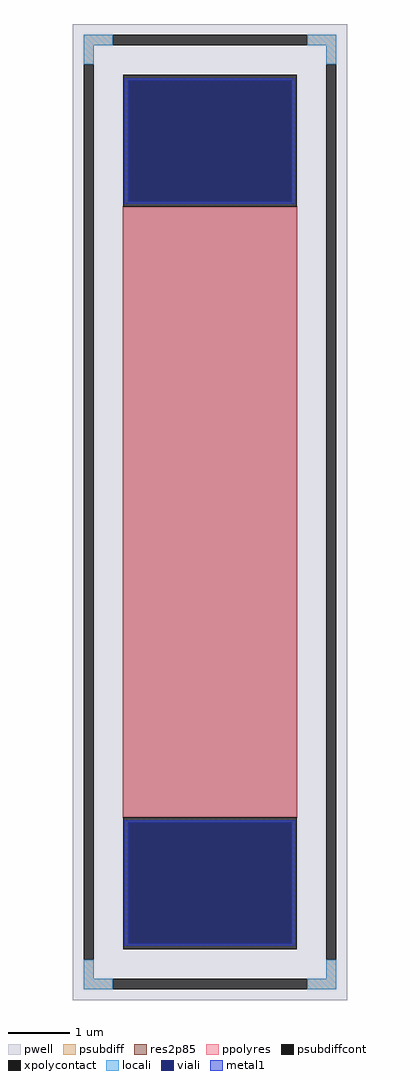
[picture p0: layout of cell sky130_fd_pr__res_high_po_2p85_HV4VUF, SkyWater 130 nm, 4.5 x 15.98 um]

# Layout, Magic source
magic
tech sky130A
<< pwell >>
rect -225 -799 225 799
<< psubdiff >>
rect -207 764 -159 781
rect 159 764 207 781
rect -207 733 -190 764
rect 190 733 207 764
rect -207 -764 -190 -733
rect 190 -764 207 -733
rect -207 -781 -159 -764
rect 159 -781 207 -764
<< psubdiffcont >>
rect -159 764 159 781
rect -207 -733 -190 733
rect 190 -733 207 733
rect -159 -781 159 -764
<< xpolycontact >>
rect -142 500 142 716
rect -142 -716 142 -500
<< ppolyres >>
rect -142 -500 142 500
<< locali >>
rect -207 764 -159 781
rect 159 764 207 781
rect -207 733 -190 764
rect 190 733 207 764
rect -207 -764 -190 -733
rect 190 -764 207 -733
rect -207 -781 -159 -764
rect 159 -781 207 -764
<< viali >>
rect -134 508 134 707
rect -134 -707 134 -508
<< metal1 >>
rect -140 707 140 710
rect -140 508 -134 707
rect 134 508 140 707
rect -140 505 140 508
rect -140 -508 140 -505
rect -140 -707 -134 -508
rect 134 -707 140 -508
rect -140 -710 140 -707
<< res2p85 >>
rect -143 -501 143 501
<< properties >>
string FIXED_BBOX -199 -772 199 772
string gencell sky130_fd_pr__res_high_po_2p85
string library sky130
string parameters w 2.850 l 10 m 1 nx 1 wmin 2.850 lmin 0.50 rho 319.8 val 1.258k dummy 0 dw 0.0 term 194.82 sterm 0.0 caplen 0 guard 1 glc 1 grc 1 gtc 1 gbc 1 compatible {sky130_fd_pr__res_high_po_0p35  sky130_fd_pr__res_high_po_0p69 sky130_fd_pr__res_high_po_1p41  sky130_fd_pr__res_high_po_2p85 sky130_fd_pr__res_high_po_5p73} snake 0 full_metal 1 wmax 2.850 n_guard 0 hv_guard 0 vias 1 viagb 0 viagt 0 viagl 0 viagr 0
<< end >>
